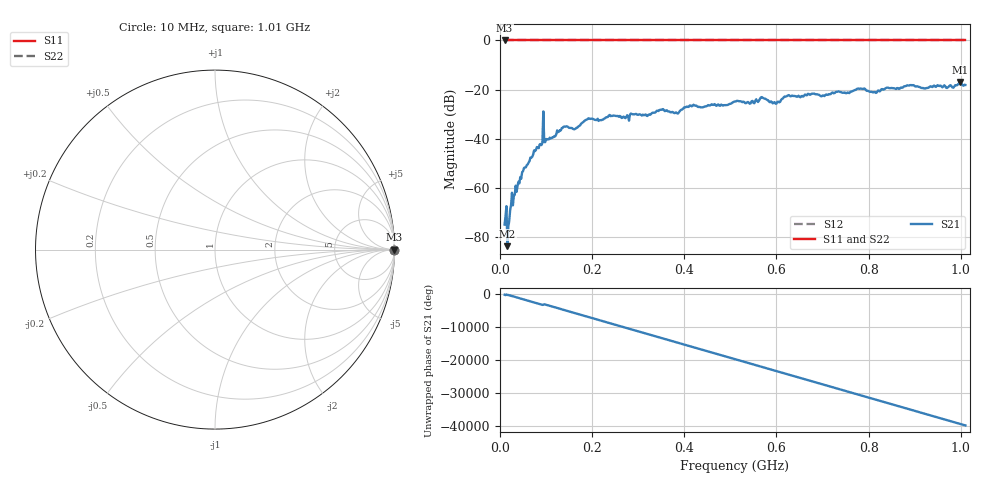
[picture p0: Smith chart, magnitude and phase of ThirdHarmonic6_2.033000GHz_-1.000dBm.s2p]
! 8/17/2025 12:23:37 AM
! C:\ANRITSUVNA\TEMP\TEMP.S2P
! CHANNEL.1
! TR.MEASUREMENT
! RAW.DATA
! RF.CORRECTION.OFF
! AVERAGING.OFF
! IF.BANDWIDTH: 5KHZ
! SWEEPTYPE:  FREQ.SWEEP(Linear)
! Reference Plane Port Info
! PORT:  PORT1  PORT2
! DISTANCE:  0  m  0  m
! TIME:  0  s  0  s
! PHASE.OFFSET:  0  deg.  0  deg.
! LOSS:  0  dB  0  dB
! REF.LOSS:  0  dB  0  dB
! REF.FREQ:  0  Hz  0  Hz
! Power Info
! POWER:  -20  dBm  -20  dBm
! EFF.POWER:  -20  dBm  -20  dBm
! SOURCE.ATTEN:  0  dB  0  dB
! TEST.ATTEN:  0  dB  0  dB
# GHZ S RI R 50.0
! FREQ.GHZ  S11RE  S11IM  S21RE  S21IM  S12RE  S12IM  S22RE  S22IM
!; PortSelection: Port_12
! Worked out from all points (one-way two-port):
!   501 points, 10 MHz to 1.01 GHz, reference 50 ohm
!   highest |S21| = -16.88 dB at 998 MHz (marker M1); lowest = -83.7 dB at 16 MHz (marker M2)
!   lowest |S11| = 0.0 dB at 10 MHz (marker M3)
!   |S11| at or under -10 dB: nowhere
!   |S22| runs from 0.0 to 0.0 dB; largest |S21 - S12| = 1.1
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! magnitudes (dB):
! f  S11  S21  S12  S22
! 10 MHz  0.0  -74.9  0.0  0.0
! 16 MHz  0.0  -83.7  0.0  0.0
! 20 MHz  0.0  -73.6  0.0  0.0
! 30 MHz  0.0  -63.2  0.0  0.0
! 48 MHz  0.0  -53.7  0.0  0.0
! 88 MHz  0.0  -42.1  0.0  0.0
! 90 MHz  0.0  -42.6  0.0  0.0
! 98 MHz  0.0  -41.4  0.0  0.0
! 100 MHz  0.0  -40.1  0.0  0.0
! 138 MHz  0.0  -35.1  0.0  0.0
! 178 MHz  0.0  -33.6  0.0  0.0
! 344 MHz  0.0  -28.7  0.0  0.0
! 384 MHz  0.0  -29.6  0.0  0.0
! 416 MHz  0.0  -26.8  0.0  0.0
! 510 MHz  0.0  -24.9  0.0  0.0
! 570 MHz  0.0  -23.3  0.0  0.0
! 596 MHz  0.0  -25.1  0.0  0.0
! 622 MHz  0.0  -22.7  0.0  0.0
! 678 MHz  0.0  -21.7  0.0  0.0
! 844 MHz  0.0  -19.4  0.0  0.0
! 998 MHz  0.0  -16.9  0.0  0.0
! 1.01 GHz  0.0  -18.1  0.0  0.0
